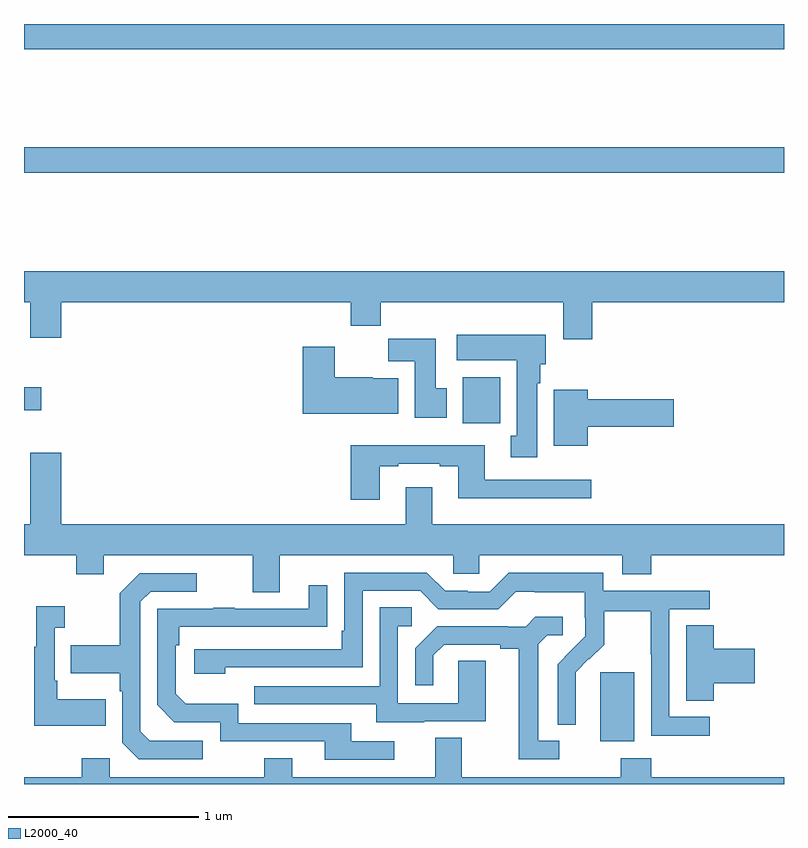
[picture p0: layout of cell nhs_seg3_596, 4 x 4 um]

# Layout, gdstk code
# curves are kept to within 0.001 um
import gdstk
lib = gdstk.Library(unit=1e-6, precision=1e-09)
def R(c, l, rs):  # rectangles x0, y0, x1, y1
    for r in rs: c.add(gdstk.rectangle(r[:2], r[2:], *l))
def P(c, l, *ps):  # polygons
    for p in ps: c.add(gdstk.Polygon(p, *l))
L2000_40 = (2000, 40)

nhs_seg3_596 = lib.new_cell('nhs_seg3_596')
R(nhs_seg3_596, L2000_40, [(144.032,678.626,144.211,678.987), (143.309,680.3,143.506,680.542), (141,680.366,141.091,680.488), (141,681.616,145,681.752), (141,682.268,145,682.4)])
P(nhs_seg3_596, L2000_40, [(143.99,680.936),(145,680.936),(145,681.1),(141,681.1),(141,680.936),(141.032,680.936),(141.032,680.748),(141.196,680.748),(141.196,680.936),(142.721,680.936),(142.721,680.812),(142.877,680.812),(142.877,680.936),(143.837,680.936),(143.837,680.742),(143.99,680.742)],
  [(143.701,680.51),(143.716,680.51),(143.716,680.61),(143.746,680.61),(143.746,680.764),(143.277,680.764),(143.277,680.63),(143.594,680.63),(143.594,680.234),(143.561,680.234),(143.561,680.121),(143.701,680.121)],
  [(143.224,680.484),(143.167,680.484),(143.167,680.743),(142.918,680.743),(142.918,680.624),(143.057,680.624),(143.057,680.328),(143.224,680.328)],
  [(142.969,680.536),(142.836,680.536),(142.836,680.542),(142.636,680.542),(142.636,680.701),(142.466,680.701),(142.466,680.348),(142.969,680.348)],
  [(143.968,680.279),(144.421,680.279),(144.421,680.426),(143.968,680.426),(143.968,680.476),(143.789,680.476),(143.789,680.18),(143.968,680.18)],
  [(142.873,680.073),(142.969,680.073),(142.969,680.085),(143.189,680.085),(143.189,680.073),(143.285,680.073),(143.285,679.904),(143.986,679.904),(143.986,680.001),(143.425,680.001),(143.425,680.182),(142.721,680.182),(142.721,679.896),(142.873,679.896)],
  [(142.345,679.604),(143.259,679.604),(143.259,679.506),(143.397,679.506),(143.397,679.604),(144.149,679.604),(144.149,679.505),(144.302,679.505),(144.302,679.604),(145,679.604),(145,679.768),(143.149,679.768),(143.149,679.963),(143.009,679.963),(143.009,679.768),(141.196,679.768),(141.196,680.143),(141.032,680.143),(141.032,679.768),(141,679.768),(141,679.604),(141.274,679.604),(141.274,679.505),(141.421,679.505),(141.421,679.604),(142.205,679.604),(142.205,679.41),(142.345,679.41)],
  [(144.61,678.753),(144.396,678.753),(144.396,679.32),(144.61,679.32),(144.61,679.416),(144.048,679.416),(144.048,679.513),(143.551,679.513),(143.451,679.413),(143.336,679.413),(143.336,679.416),(143.217,679.416),(143.121,679.512),(142.686,679.512),(142.686,679.207),(142.673,679.207),(142.673,679.11),(141.897,679.11),(141.897,678.98),(142.058,678.98),(142.058,679.014),(142.782,679.014),(142.782,679.416),(143.085,679.416),(143.181,679.32),(143.496,679.32),(143.589,679.413),(143.689,679.413),(143.689,679.409),(143.952,679.409),(143.952,679.275),(143.954,679.275),(143.954,679.178),(143.808,679.03),(143.808,678.712),(143.904,678.712),(143.903,678.989),(143.973,679.059),(143.976,679.056),(144.053,679.133),(144.053,679.308),(144.298,679.308),(144.298,679.084),(144.3,679.084),(144.3,678.655),(144.61,678.655)],
  [(141.94,678.627),(141.663,678.627),(141.612,678.678),(141.612,679.359),(141.666,679.413),(141.91,679.413),(141.91,679.509),(141.609,679.509),(141.504,679.403),(141.504,679.131),(141.247,679.131),(141.247,678.983),(141.504,678.983),(141.504,678.887),(141.516,678.887),(141.516,678.618),(141.603,678.531),(141.94,678.531)],
  [(142.948,678.624),(142.723,678.624),(142.723,678.72),(142.128,678.72),(142.128,678.823),(141.851,678.823),(141.798,678.876),(141.798,679.13),(141.818,679.13),(141.818,679.227),(142.595,679.228),(142.595,679.447),(142.499,679.447),(142.499,679.323),(142.109,679.323),(142.109,679.328),(141.997,679.328),(141.997,679.323),(141.702,679.323),(141.702,678.816),(141.792,678.726),(142.032,678.726),(142.032,678.624),(142.583,678.624),(142.583,678.528),(142.948,678.528)],
  [(141.431,678.847),(141.175,678.847),(141.175,678.943),(141.162,678.943),(141.162,679.223),(141.214,679.223),(141.214,679.336),(141.065,679.336),(141.065,679.123),(141.054,679.123),(141.054,678.707),(141.431,678.707)],
  [(143.107,678.729),(143.431,678.729),(143.431,679.049),(143.286,679.049),(143.286,678.825),(142.968,678.825),(142.968,679.23),(143.041,679.23),(143.041,679.331),(142.872,679.331),(142.872,678.915),(142.213,678.915),(142.213,678.819),(142.853,678.819),(142.853,678.725),(143.107,678.725)],
  [(143.818,678.627),(143.707,678.627),(143.707,679.135),(143.754,679.182),(143.836,679.182),(143.836,679.279),(143.692,679.279),(143.64,679.227),(143.546,679.227),(143.546,679.23),(143.174,679.23),(143.058,679.114),(143.058,678.921),(143.155,678.921),(143.155,679.077),(143.212,679.134),(143.507,679.134),(143.507,679.112),(143.603,679.112),(143.603,678.531),(143.818,678.531)],
  [(144.629,678.929),(144.847,678.929),(144.847,679.112),(144.629,679.112),(144.629,679.235),(144.485,679.235),(144.485,678.838),(144.629,678.838)],
  [(145,678.436),(144.302,678.436),(144.302,678.535),(144.142,678.535),(144.142,678.436),(143.305,678.436),(143.305,678.644),(143.165,678.644),(143.165,678.436),(142.411,678.436),(142.411,678.535),(142.264,678.535),(142.264,678.436),(141.45,678.436),(141.45,678.535),(141.304,678.535),(141.304,678.436),(141,678.436),(141,678.4),(145,678.4)])

lib.write_gds('nhs_seg3_596.gds')
